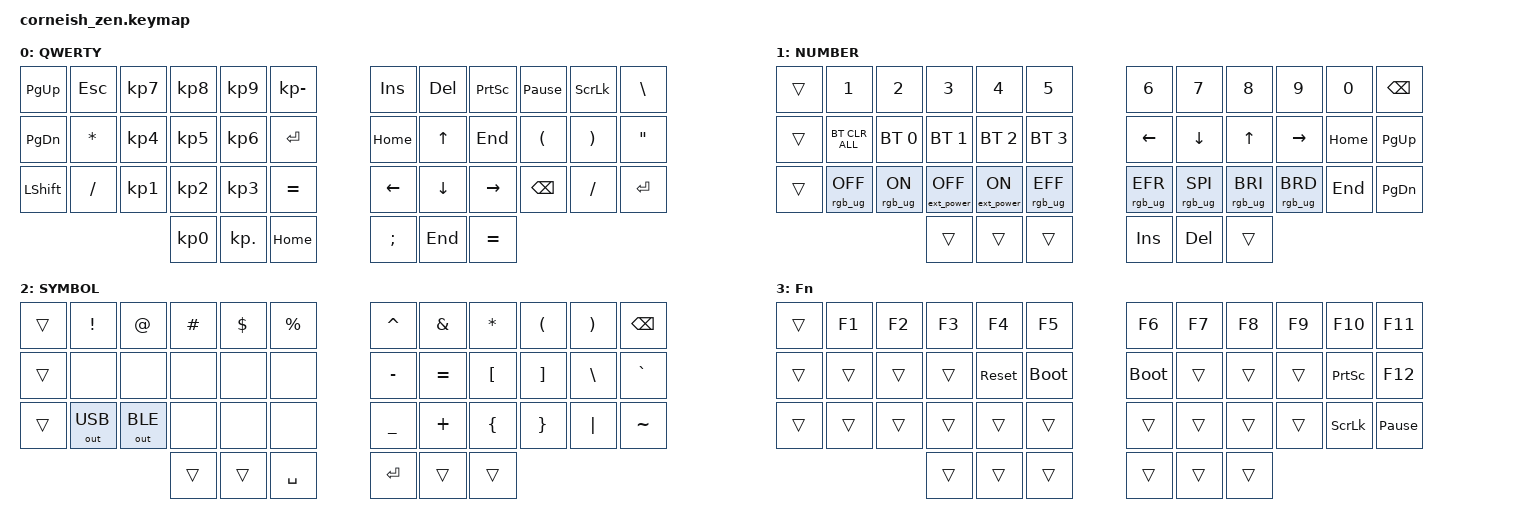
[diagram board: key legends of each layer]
/*
 * Copyright (c) 2020 The ZMK Contributors
 *
 * SPDX-License-Identifier: MIT
 */

#include <behaviors.dtsi>
#include <dt-bindings/zmk/bt.h>
#include <dt-bindings/zmk/ext_power.h>
#include <dt-bindings/zmk/keys.h>
#include <dt-bindings/zmk/outputs.h>
#include <dt-bindings/zmk/rgb.h>

/ {
    chosen {
        zmk,matrix_transform = &default_transform;

        // zmk,matrix_transform = &five_column_transform;
    };
};

/ {
    behaviors {
        td0: td0 {
            compatible = "zmk,behavior-tap-dance";
            label = "TD0";
            #binding-cells = <0>;
            bindings = <&kp LEFT_SHIFT>, <&kp CAPS>;
        };
    };

    keymap {
        compatible = "zmk,keymap";

        default_layer {
            display-name = "QWERTY";

            // --------------------------------------------------------------------------------
            // |  TAB |  Q  |  W  |  E  |  R  |  T  |   |  Y  |  U   |  I  |  O  |  P  | BKSP |
            // | CTRL |  A  |  S  |  D  |  F  |  G  |   |  H  |  J   |  K  |  L  |  ;  |  '   | 
            // | SHFT |  Z  |  X  |  C  |  V  |  B  |   |  N  |  M   |  ,  |  .  |  /  | ESC  |
            //                    | GUI | LWR | SPC |   | ENT | RSE  | ALT |

            bindings = <
&kp PG_UP       &kp ESCAPE  &kp KP_NUMBER_7  &kp KP_NUMBER_8  &kp KP_NUMBER_9  &kp KP_MINUS    &kp INS        &kp DELETE  &kp PRINTSCREEN  &kp PAUSE_BREAK       &kp SCROLLLOCK         &kp BACKSLASH
&kp PG_DN       &kp STAR    &kp KP_NUMBER_4  &kp KP_NUMBER_5  &kp KP_NUMBER_6  &kp ENTER       &kp HOME       &kp UP      &kp END          &kp LEFT_PARENTHESIS  &kp RIGHT_PARENTHESIS  &kp DOUBLE_QUOTES
&kp LEFT_SHIFT  &kp SLASH   &kp KP_NUMBER_1  &kp KP_NUMBER_2  &kp KP_NUMBER_3  &kp EQUAL       &kp LEFT       &kp DOWN    &kp RIGHT        &kp BACKSPACE         &kp FSLH               &kp ENTER
                                             &kp KP_NUMBER_0  &kp KP_DOT       &kp HOME        &kp SEMICOLON  &kp END     &kp EQUAL
            >;
        };

        lower_layer {
            display-name = "NUMBER";

            // -----------------------------------------------------------------------------------------
            // |  TAB |  1  |  2  |  3  |  4  |  5  |   |  6  |  7  |  8  |  9  |  0  | BKSP |
            // | BTCLR| BT1 | BT2 | BT3 | BT4 | BT5 |   | LFT | DWN |  UP | RGT |     |      |
            // | SHFT |     |     |     |     |     |   |     |     |     |     |     |      |
            //                    | GUI |     | SPC |   | ENT |     | ALT |

            bindings = <
&trans  &kp N1           &kp N2          &kp N3             &kp N4            &kp N5             &kp N6           &kp N7           &kp N8           &kp N9           &kp N0    &kp BSPC
&trans  &bt BT_CLR_ALL   &bt BT_SEL 0    &bt BT_SEL 1       &bt BT_SEL 2      &bt BT_SEL 3       &kp LEFT         &kp DOWN         &kp UP           &kp RIGHT        &kp HOME  &kp PG_UP
&trans  &rgb_ug RGB_OFF  &rgb_ug RGB_ON  &ext_power EP_OFF  &ext_power EP_ON  &rgb_ug RGB_EFF    &rgb_ug RGB_EFR  &rgb_ug RGB_SPI  &rgb_ug RGB_BRI  &rgb_ug RGB_BRD  &kp END   &kp PG_DN
                                         &trans             &trans            &trans             &kp INS          &kp DEL          &trans
            >;
        };

        raise_layer {
            display-name = "SYMBOL";

            // -----------------------------------------------------------------------------------------
            // |  TAB |  !  |  @  |  #  |  $  |  %  |   |  ^  |  &  |  *  |  (  |  )  | BKSP |
            // | CTRL |     |     |     |     |     |   |  -  |  =  |  [  |  ]  |  \  |  `   |
            // | SHFT |     |     |     |     |     |   |  _  |  +  |  {  |  }  | "|" |  ~   |
            //                    | GUI |     | SPC |   | ENT |     | ALT |

            bindings = <
&trans  &kp EXCL      &kp AT        &kp HASH  &kp DLLR  &kp PRCNT    &kp CARET  &kp AMPS   &kp ASTRK  &kp LPAR  &kp RPAR  &kp BSPC
&trans  &none         &none         &none     &none     &none        &kp MINUS  &kp EQUAL  &kp LBKT   &kp RBKT  &kp BSLH  &kp GRAVE
&trans  &out OUT_USB  &out OUT_BLE  &none     &none     &none        &kp UNDER  &kp PLUS   &kp LBRC   &kp RBRC  &kp PIPE  &kp TILDE
                                    &trans    &trans    &kp SPACE    &kp RET    &trans     &trans
            >;
        };

        layer_3 {
            display-name = "Fn";
            bindings = <
&trans  &kp F1  &kp F2  &kp F3  &kp F4      &kp F5         &kp F6       &kp F7  &kp F8  &kp F9  &kp F10          &kp F11
&trans  &trans  &trans  &trans  &sys_reset  &bootloader    &bootloader  &trans  &trans  &trans  &kp PRINTSCREEN  &kp F12
&trans  &trans  &trans  &trans  &trans      &trans         &trans       &trans  &trans  &trans  &kp SCROLLLOCK   &kp PAUSE_BREAK
                        &trans  &trans      &trans         &trans       &trans  &trans
            >;
        };
    };
};
